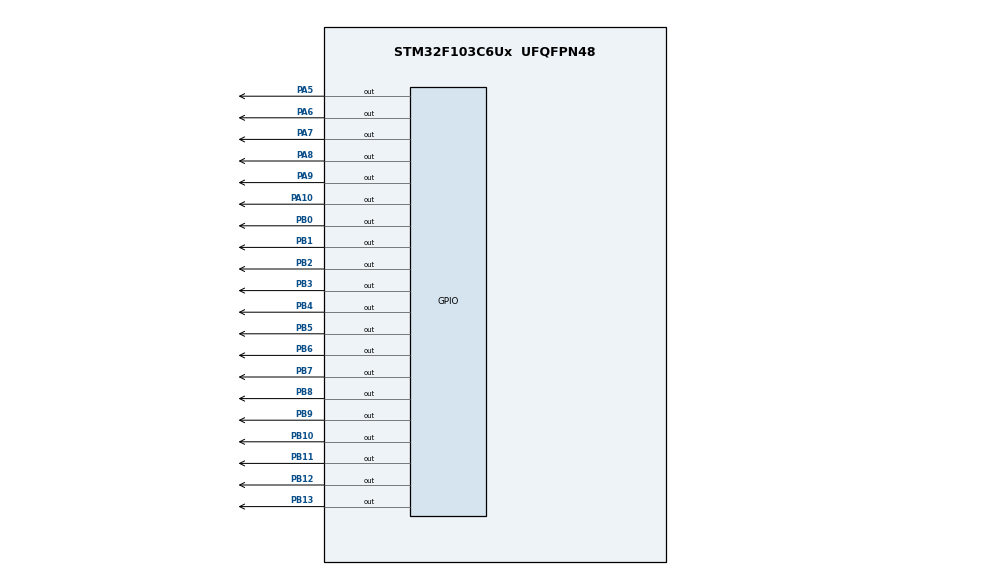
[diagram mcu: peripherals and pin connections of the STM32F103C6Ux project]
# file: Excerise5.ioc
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Mcu.Family=STM32F1
Mcu.Name=STM32F103C6Ux
Mcu.Package=UFQFPN48
NVIC.PriorityGroup=NVIC_PRIORITYGROUP_4
PA10.Signal=GPIO_Output
PA5.Signal=GPIO_Output
PA6.Signal=GPIO_Output
PA7.Signal=GPIO_Output
PA8.Signal=GPIO_Output
PA9.Signal=GPIO_Output
PB0.Signal=GPIO_Output
PB1.Signal=GPIO_Output
PB10.Signal=GPIO_Output
PB11.Signal=GPIO_Output
PB12.Signal=GPIO_Output
PB13.Signal=GPIO_Output
PB2.Signal=GPIO_Output
PB3.Signal=GPIO_Output
PB4.Signal=GPIO_Output
PB5.Signal=GPIO_Output
PB6.Signal=GPIO_Output
PB7.Signal=GPIO_Output
PB8.Signal=GPIO_Output
PB9.Signal=GPIO_Output
ProjectManager.HeapSize=0x200
ProjectManager.StackSize=0x400
ProjectManager.TargetToolchain=STM32CubeIDE
RCC.APB1Freq_Value=8000000
RCC.APB2Freq_Value=8000000
board=custom

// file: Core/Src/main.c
/* USER CODE BEGIN Header */
/**
  ******************************************************************************
  * @file           : main.c
  * @brief          : Main program body
  ******************************************************************************
  * @attention
  *
  * Copyright (c) 2025 STMicroelectronics.
  * All rights reserved.
  *
  * This software is licensed under terms that can be found in the LICENSE file
  * in the root directory of this software component.
  * If no LICENSE file comes with this software, it is provided AS-IS.
  *
  ******************************************************************************
  */
/* USER CODE END Header */
#include "main.h"

void SystemClock_Config(void);
/* USER CODE BEGIN PFP */
void MX_GPIO_Init(void);
void display7SEG_1(int num);
void display7SEG_2(int num);
/* USER CODE END PFP */

int main(void)
{

  /* MCU Configuration--------------------------------------------------------*/

  /* Reset of all peripherals, Initializes the Flash interface and the Systick. */
  HAL_Init();

  /* Configure the system clock */
  SystemClock_Config();

  /* Initialize all configured peripherals */
  /* USER CODE BEGIN 2 */
  MX_GPIO_Init();
  int state1, state2, counter1, counter2;
  //state: red = 0, green = 1, yellow = 2
  state1 = 0;
  state2 = 1;
  counter1 = 5;
  counter2 = 3;
  /* USER CODE END 2 */
  /* Infinite loop */
  while (1)
  {
    if(counter1 == 0){
      if(state1 == 0){
          state1 = 1;
          counter1 = 3;
      }
      else if(state1 == 1){
          state1 = 2;
          counter1 = 2;
      }
      else if(state1 == 2){
          state1 = 0;
          counter1 = 5;
      }
    }

    if(counter2 == 0){
      if(state2 == 0){
          state2 = 1;
          counter2 = 3;
      }
      else if(state2 == 1){
          state2 = 2;
          counter2 = 2;
      }
      else if(state2 == 2){
          state2 = 0;
          counter2 = 5;
      }
    }

    switch (state1)
    {
    case 0:
        HAL_GPIO_WritePin(GPIOA, GPIO_PIN_5, RESET);
        HAL_GPIO_WritePin(GPIOA, GPIO_PIN_6 | GPIO_PIN_7, SET);
        break;
    case 1:
        HAL_GPIO_WritePin(GPIOA, GPIO_PIN_7, RESET);
        HAL_GPIO_WritePin(GPIOA, GPIO_PIN_5 | GPIO_PIN_6, SET);
        break;
    case 2:
        HAL_GPIO_WritePin(GPIOA, GPIO_PIN_6, RESET);
        HAL_GPIO_WritePin(GPIOA, GPIO_PIN_5 | GPIO_PIN_7, SET);
        break;
    default:
        break;
    }

    switch (state2)
    {
    case 0:
        HAL_GPIO_WritePin(GPIOA, GPIO_PIN_8, RESET);
        HAL_GPIO_WritePin(GPIOA, GPIO_PIN_9 | GPIO_PIN_10, SET);
        break;
    case 1:
        HAL_GPIO_WritePin(GPIOA, GPIO_PIN_10, RESET);
        HAL_GPIO_WritePin(GPIOA, GPIO_PIN_8 | GPIO_PIN_9, SET);
        break;
    case 2:
        HAL_GPIO_WritePin(GPIOA, GPIO_PIN_9, RESET);
        HAL_GPIO_WritePin(GPIOA, GPIO_PIN_8 | GPIO_PIN_10, SET);
        break;
    default:
        break;
    }
    display7SEG_1(counter1);
    display7SEG_2(counter2);
    HAL_Delay(1000);
    counter1--;
    counter2--;
  }
}

void SystemClock_Config(void)
{
  RCC_OscInitTypeDef RCC_OscInitStruct = {0};
  RCC_ClkInitTypeDef RCC_ClkInitStruct = {0};

  /** Initializes the RCC Oscillators according to the specified parameters
  * in the RCC_OscInitTypeDef structure.
  */
  RCC_OscInitStruct.OscillatorType = RCC_OSCILLATORTYPE_HSI;
  RCC_OscInitStruct.HSIState = RCC_HSI_ON;
  RCC_OscInitStruct.HSICalibrationValue = RCC_HSICALIBRATION_DEFAULT;
  RCC_OscInitStruct.PLL.PLLState = RCC_PLL_NONE;
  if (HAL_RCC_OscConfig(&RCC_OscInitStruct) != HAL_OK)
  {
    Error_Handler();
  }

  /** Initializes the CPU, AHB and APB buses clocks
  */
  RCC_ClkInitStruct.ClockType = RCC_CLOCKTYPE_HCLK|RCC_CLOCKTYPE_SYSCLK
                              |RCC_CLOCKTYPE_PCLK1|RCC_CLOCKTYPE_PCLK2;
  RCC_ClkInitStruct.SYSCLKSource = RCC_SYSCLKSOURCE_HSI;
  RCC_ClkInitStruct.AHBCLKDivider = RCC_SYSCLK_DIV1;
  RCC_ClkInitStruct.APB1CLKDivider = RCC_HCLK_DIV1;
  RCC_ClkInitStruct.APB2CLKDivider = RCC_HCLK_DIV1;

  if (HAL_RCC_ClockConfig(&RCC_ClkInitStruct, FLASH_LATENCY_0) != HAL_OK)
  {
    Error_Handler();
  }
}

/* USER CODE BEGIN 4 */
void MX_GPIO_Init(void){
  __HAL_RCC_GPIOA_CLK_ENABLE();
  __HAL_RCC_GPIOB_CLK_ENABLE();

  GPIO_InitTypeDef init = {0};
  init.Mode = GPIO_MODE_OUTPUT_PP;
  init.Pin = GPIO_PIN_5 | GPIO_PIN_6 | GPIO_PIN_7 | GPIO_PIN_8 | GPIO_PIN_9 | GPIO_PIN_10;
  init.Pull = GPIO_PULLDOWN;
  init.Speed = GPIO_SPEED_FREQ_MEDIUM;
  HAL_GPIO_Init(GPIOA, &init);

  init.Mode = GPIO_MODE_OUTPUT_PP;
  init.Pin = GPIO_PIN_0 | GPIO_PIN_1 | GPIO_PIN_2 | GPIO_PIN_3 | GPIO_PIN_4 | GPIO_PIN_5 | GPIO_PIN_6;
  init.Pull = GPIO_PULLDOWN;
  init.Speed = GPIO_SPEED_FREQ_MEDIUM;
  HAL_GPIO_Init(GPIOB, &init);

  init.Mode = GPIO_MODE_OUTPUT_PP;
  init.Pin = GPIO_PIN_7 | GPIO_PIN_8 | GPIO_PIN_9 | GPIO_PIN_10 | GPIO_PIN_11 | GPIO_PIN_12 | GPIO_PIN_13;
  init.Pull = GPIO_PULLDOWN;
  init.Speed = GPIO_SPEED_FREQ_MEDIUM;
  HAL_GPIO_Init(GPIOB, &init);
}

void display7SEG_1(int num){
  switch(num){
      case 0:
          HAL_GPIO_WritePin(GPIOB, GPIO_PIN_0 | GPIO_PIN_1 | GPIO_PIN_2 | GPIO_PIN_3 | GPIO_PIN_4 | GPIO_PIN_5, RESET);
          HAL_GPIO_WritePin(GPIOB,  GPIO_PIN_6, SET);
          break;
      case 1:
          HAL_GPIO_WritePin(GPIOB, GPIO_PIN_1 | GPIO_PIN_2, RESET);
          HAL_GPIO_WritePin(GPIOB,  GPIO_PIN_0 | GPIO_PIN_3 | GPIO_PIN_4 | GPIO_PIN_5 | GPIO_PIN_6, SET);
          break;
      case 2:
          HAL_GPIO_WritePin(GPIOB, GPIO_PIN_0 | GPIO_PIN_1 | GPIO_PIN_3 | GPIO_PIN_4 | GPIO_PIN_6, RESET);
          HAL_GPIO_WritePin(GPIOB,  GPIO_PIN_2 | GPIO_PIN_5, SET);
          break;
      case 3:
          HAL_GPIO_WritePin(GPIOB, GPIO_PIN_0 | GPIO_PIN_1 | GPIO_PIN_3 | GPIO_PIN_2 | GPIO_PIN_6, RESET);
          HAL_GPIO_WritePin(GPIOB,  GPIO_PIN_4 | GPIO_PIN_5, SET);
          break;
      case 4:
          HAL_GPIO_WritePin(GPIOB, GPIO_PIN_1 | GPIO_PIN_2 | GPIO_PIN_5 | GPIO_PIN_6, RESET);
          HAL_GPIO_WritePin(GPIOB,  GPIO_PIN_0 | GPIO_PIN_3 | GPIO_PIN_4, SET);
          break;
      case 5:
          HAL_GPIO_WritePin(GPIOB, GPIO_PIN_0 | GPIO_PIN_5 | GPIO_PIN_3 | GPIO_PIN_2 | GPIO_PIN_6, RESET);
          HAL_GPIO_WritePin(GPIOB,  GPIO_PIN_4 | GPIO_PIN_1, SET);
          break;
      case 6:
          HAL_GPIO_WritePin(GPIOB, GPIO_PIN_0 | GPIO_PIN_5 | GPIO_PIN_3 | GPIO_PIN_4 | GPIO_PIN_2 | GPIO_PIN_6, RESET);
          HAL_GPIO_WritePin(GPIOB, GPIO_PIN_1, SET);
          break;
      case 7:
          HAL_GPIO_WritePin(GPIOB, GPIO_PIN_0 | GPIO_PIN_1 | GPIO_PIN_2, RESET);
          HAL_GPIO_WritePin(GPIOB, GPIO_PIN_3 | GPIO_PIN_4 | GPIO_PIN_5 | GPIO_PIN_6, SET);
          break;
      case 8:
          HAL_GPIO_WritePin(GPIOB, GPIO_PIN_0 | GPIO_PIN_1 | GPIO_PIN_2 | GPIO_PIN_3 | GPIO_PIN_4 | GPIO_PIN_5 | GPIO_PIN_6, RESET);
          break;
      case 9:
          HAL_GPIO_WritePin(GPIOB, GPIO_PIN_0 | GPIO_PIN_1 | GPIO_PIN_2 | GPIO_PIN_3 | GPIO_PIN_5 | GPIO_PIN_6, RESET);
          HAL_GPIO_WritePin(GPIOB, GPIO_PIN_4, SET);
          break;
      default:
          HAL_GPIO_WritePin(GPIOB, GPIO_PIN_0 | GPIO_PIN_1 | GPIO_PIN_2 | GPIO_PIN_3 | GPIO_PIN_4 | GPIO_PIN_5 | GPIO_PIN_6, SET);
          break;
  }
}

void display7SEG_2(int num){
  switch(num){
      case 0:
          HAL_GPIO_WritePin(GPIOB, GPIO_PIN_7 | GPIO_PIN_8 | GPIO_PIN_9 | GPIO_PIN_10 | GPIO_PIN_11 | GPIO_PIN_12, RESET);
          HAL_GPIO_WritePin(GPIOB,  GPIO_PIN_13, SET);
          break;
      case 1:
          HAL_GPIO_WritePin(GPIOB, GPIO_PIN_8 | GPIO_PIN_9, RESET);
          HAL_GPIO_WritePin(GPIOB,  GPIO_PIN_7 | GPIO_PIN_10 | GPIO_PIN_11 | GPIO_PIN_12 | GPIO_PIN_13, SET);
          break;
      case 2:
          HAL_GPIO_WritePin(GPIOB, GPIO_PIN_7 | GPIO_PIN_8 | GPIO_PIN_10 | GPIO_PIN_11 | GPIO_PIN_13, RESET);
          HAL_GPIO_WritePin(GPIOB,  GPIO_PIN_9 | GPIO_PIN_12, SET);
          break;
      case 3:
          HAL_GPIO_WritePin(GPIOB, GPIO_PIN_7 | GPIO_PIN_8 | GPIO_PIN_10 | GPIO_PIN_9 | GPIO_PIN_13, RESET);
          HAL_GPIO_WritePin(GPIOB,  GPIO_PIN_11 | GPIO_PIN_12, SET);
          break;
      case 4:
          HAL_GPIO_WritePin(GPIOB, GPIO_PIN_8 | GPIO_PIN_9 | GPIO_PIN_12 | GPIO_PIN_13, RESET);
          HAL_GPIO_WritePin(GPIOB,  GPIO_PIN_7 | GPIO_PIN_10 | GPIO_PIN_11, SET);
          break;
      case 5:
          HAL_GPIO_WritePin(GPIOB, GPIO_PIN_7 | GPIO_PIN_12 | GPIO_PIN_10 | GPIO_PIN_9 | GPIO_PIN_13, RESET);
          HAL_GPIO_WritePin(GPIOB,  GPIO_PIN_11 | GPIO_PIN_8, SET);
          break;
      case 6:
          HAL_GPIO_WritePin(GPIOB, GPIO_PIN_7 | GPIO_PIN_12 | GPIO_PIN_10 | GPIO_PIN_11 | GPIO_PIN_9 | GPIO_PIN_13, RESET);
          HAL_GPIO_WritePin(GPIOB, GPIO_PIN_8, SET);
          break;
      case 7:
          HAL_GPIO_WritePin(GPIOB, GPIO_PIN_7 | GPIO_PIN_8 | GPIO_PIN_9, RESET);
          HAL_GPIO_WritePin(GPIOB, GPIO_PIN_10 | GPIO_PIN_11 | GPIO_PIN_12 | GPIO_PIN_13, SET);
          break;
      case 8:
          HAL_GPIO_WritePin(GPIOB, GPIO_PIN_7 | GPIO_PIN_8 | GPIO_PIN_9 | GPIO_PIN_10 | GPIO_PIN_11 | GPIO_PIN_12 | GPIO_PIN_13, RESET);
          break;
      case 9:
          HAL_GPIO_WritePin(GPIOB, GPIO_PIN_7 | GPIO_PIN_8 | GPIO_PIN_9 | GPIO_PIN_10 | GPIO_PIN_12 | GPIO_PIN_13, RESET);
          HAL_GPIO_WritePin(GPIOB, GPIO_PIN_11, SET);
          break;
      default:
          HAL_GPIO_WritePin(GPIOB, GPIO_PIN_7 | GPIO_PIN_8 | GPIO_PIN_9 | GPIO_PIN_10 | GPIO_PIN_11 | GPIO_PIN_12 | GPIO_PIN_13, SET);
          break;
  }
}
/* USER CODE END 4 */

void Error_Handler(void)
{
  __disable_irq();
  while (1)
  {
  }
}
